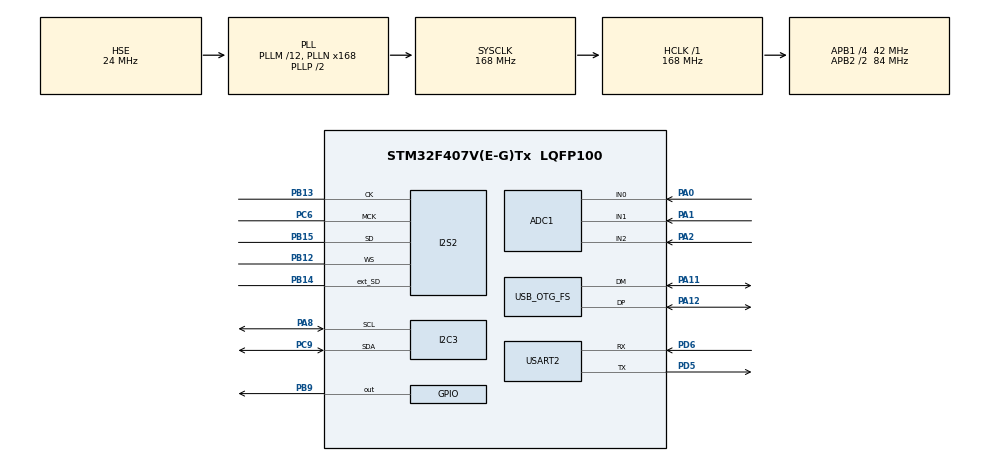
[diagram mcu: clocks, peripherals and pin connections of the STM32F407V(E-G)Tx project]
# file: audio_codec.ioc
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ADC1.Channel-0\#ChannelRegularConversion=ADC_CHANNEL_0
ADC1.NbrOfConversionFlag=1
ADC1.Rank-0\#ChannelRegularConversion=1
ADC1.SamplingTime-0\#ChannelRegularConversion=ADC_SAMPLETIME_3CYCLES
ADC1.master=1
Dma.I2S2_EXT_RX.0.Direction=DMA_PERIPH_TO_MEMORY
Dma.I2S2_EXT_RX.0.FIFOMode=DMA_FIFOMODE_DISABLE
Dma.I2S2_EXT_RX.0.Instance=DMA1_Stream3
Dma.I2S2_EXT_RX.0.MemDataAlignment=DMA_MDATAALIGN_BYTE
Dma.I2S2_EXT_RX.0.MemInc=DMA_MINC_ENABLE
Dma.I2S2_EXT_RX.0.Mode=DMA_NORMAL
Dma.I2S2_EXT_RX.0.PeriphDataAlignment=DMA_PDATAALIGN_BYTE
Dma.I2S2_EXT_RX.0.PeriphInc=DMA_PINC_DISABLE
Dma.I2S2_EXT_RX.0.Priority=DMA_PRIORITY_LOW
Dma.Request0=I2S2_EXT_RX
Dma.Request1=SPI2_TX
Dma.SPI2_TX.1.Direction=DMA_MEMORY_TO_PERIPH
Dma.SPI2_TX.1.FIFOMode=DMA_FIFOMODE_DISABLE
Dma.SPI2_TX.1.Instance=DMA1_Stream4
Dma.SPI2_TX.1.MemDataAlignment=DMA_MDATAALIGN_BYTE
Dma.SPI2_TX.1.MemInc=DMA_MINC_ENABLE
Dma.SPI2_TX.1.Mode=DMA_NORMAL
Dma.SPI2_TX.1.PeriphDataAlignment=DMA_PDATAALIGN_BYTE
Dma.SPI2_TX.1.PeriphInc=DMA_PINC_DISABLE
Dma.SPI2_TX.1.Priority=DMA_PRIORITY_LOW
I2S2.AudioFreq=I2S_AUDIOFREQ_44K
I2S2.DataFormat=I2S_DATAFORMAT_16B
I2S2.ErrorAudioFreq=0.19 %
I2S2.FullDuplexMode=I2S_FULLDUPLEXMODE_ENABLE
I2S2.Instance=SPI$Index
I2S2.RealAudioFreq=44.084 KHz
I2S2.VirtualMode=I2S_MODE_MASTER
Mcu.Family=STM32F4
Mcu.Name=STM32F407V(E-G)Tx
Mcu.Package=LQFP100
NVIC.DMA1_Stream3_IRQn=true\:0\:0\:false\:false\:true\:false\:true\:true
NVIC.DMA1_Stream4_IRQn=true\:0\:0\:false\:false\:true\:false\:true\:true
NVIC.OTG_FS_IRQn=true\:0\:0\:false\:false\:true\:false\:true\:true
NVIC.PriorityGroup=NVIC_PRIORITYGROUP_4
PA0-WKUP.Signal=ADCx_IN0
PA1.Signal=ADCx_IN1
PA11.Mode=Device_Only
PA11.Signal=USB_OTG_FS_DM
PA12.Mode=Device_Only
PA12.Signal=USB_OTG_FS_DP
PA13.Mode=Serial_Wire
PA13.Signal=SYS_JTMS-SWDIO
PA14.Mode=Serial_Wire
PA14.Signal=SYS_JTCK-SWCLK
PA2.Signal=ADCx_IN2
PA8.Mode=I2C
PA8.Signal=I2C3_SCL
PB12.Mode=Full_Duplex_Master
PB12.Signal=I2S2_WS
PB13.Mode=Full_Duplex_Master
PB13.Signal=I2S2_CK
PB14.Mode=Full_Duplex_Master
PB14.Signal=I2S2_ext_SD
PB15.Mode=Full_Duplex_Master
PB15.Signal=I2S2_SD
PB9.Signal=GPIO_Output
PC6.Mode=Master_Clock_Activated
PC6.Signal=I2S2_MCK
PC9.Mode=I2C
PC9.Signal=I2C3_SDA
PD5.Mode=Asynchronous
PD5.Signal=USART2_TX
PD6.Mode=Asynchronous
PD6.Signal=USART2_RX
PH0-OSC_IN.Mode=HSE-External-Oscillator
PH0-OSC_IN.Signal=RCC_OSC_IN
PH1-OSC_OUT.Mode=HSE-External-Oscillator
PH1-OSC_OUT.Signal=RCC_OSC_OUT
ProjectManager.HeapSize=0x200
ProjectManager.StackSize=0x400
ProjectManager.TargetToolchain=STM32CubeIDE
RCC.48MHZClocksFreq_Value=48000000
RCC.AHBFreq_Value=168000000
RCC.APB1CLKDivider=RCC_HCLK_DIV4
RCC.APB1Freq_Value=42000000
RCC.APB1TimFreq_Value=84000000
RCC.APB2CLKDivider=RCC_HCLK_DIV2
RCC.APB2Freq_Value=84000000
RCC.APB2TimFreq_Value=168000000
RCC.CortexFreq_Value=168000000
RCC.HCLKFreq_Value=168000000
RCC.HSE_VALUE=24000000
RCC.HSI_VALUE=16000000
RCC.LSE_VALUE=32768
RCC.PLLI2SN=158
RCC.PLLI2SR=7
RCC.PLLM=12
RCC.PLLN=168
RCC.PLLQ=7
RCC.SYSCLKFreq_VALUE=168000000
RCC.SYSCLKSource=RCC_SYSCLKSOURCE_PLLCLK
RCC.VCOOutputFreq_Value=336000000
SH.ADCx_IN0.0=ADC1_IN0,IN0
SH.ADCx_IN1.0=ADC1_IN1,IN1
SH.ADCx_IN2.0=ADC1_IN2,IN2
USART2.VirtualMode=VM_ASYNC
USB_DEVICE.CLASS_NAME_FS=CDC
USB_DEVICE.VirtualMode-CDC_FS=Cdc
USB_DEVICE.VirtualModeFS=Cdc_FS
USB_OTG_FS.VirtualMode=Device_Only
VP_USB_DEVICE_VS_USB_DEVICE_CDC_FS.Mode=CDC_FS
board=custom

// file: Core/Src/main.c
/* USER CODE BEGIN Header */
/**
  ******************************************************************************
  * @file           : main.c
  * @brief          : Main program body
  ******************************************************************************
  * @attention
  *
  * Copyright (c) 2025 STMicroelectronics.
  * All rights reserved.
  *
  * This software is licensed under terms that can be found in the LICENSE file
  * in the root directory of this software component.
  * If no LICENSE file comes with this software, it is provided AS-IS.
  *
  ******************************************************************************
  */
/* USER CODE END Header */
#include "main.h"
#include "adc.h"
#include "dma.h"
#include "i2c.h"
#include "i2s.h"
#include "usart.h"
#include "usb_device.h"
#include "gpio.h"

/* USER CODE BEGIN Includes */
#include <math.h>
/* USER CODE END Includes */

/* USER CODE BEGIN PD */
#define BUFSIZE 4096
#define DEVICE_ADDR 0x34  // Example: MPU6050
#define REG_ADDR    0x06
/* USER CODE END PD */

/* USER CODE BEGIN PV */
volatile int16_t txBuffer[BUFSIZE] = {0};
volatile int16_t rxBuffer[BUFSIZE] = {0};

volatile uint8_t cplt = 0;
volatile uint8_t hplt = 0;
/* USER CODE END PV */

void SystemClock_Config(void);

int main(void)
{

  /* MCU Configuration--------------------------------------------------------*/

  /* Reset of all peripherals, Initializes the Flash interface and the Systick. */
  HAL_Init();

  /* Configure the system clock */
  SystemClock_Config();

  /* Initialize all configured peripherals */
  MX_GPIO_Init();
  MX_DMA_Init();
  MX_I2C3_Init();
  MX_I2S2_Init();
  MX_ADC1_Init();
  MX_USB_DEVICE_Init();
  MX_USART2_UART_Init();
  /* USER CODE BEGIN 2 */
  void wm8731_send(uint16_t addr, uint16_t data){
  	uint16_t cmd = (addr << 9) | (data & 0x1FF);
  	uint8_t cmd_buf[2] = {cmd >> 8, cmd & 0xFF};
  	HAL_I2C_Master_Transmit(&hi2c3, 0x1A<<1, cmd_buf, 2, HAL_MAX_DELAY);
  }

  void wm8731_reset(void){
  	uint16_t cmd = (0x0F << 9) | (0x00 & 0x1FF);
  	uint8_t cmd_buf[2] = {cmd >> 8, cmd & 0xFF};
  	HAL_I2C_Master_Transmit(&hi2c3, 0x1A<<1, cmd_buf, 2, HAL_MAX_DELAY);
  }
  /* USER CODE END 2 */

  /* Infinite loop */
  /* USER CODE BEGIN WHILE */

  char msg[128];

  wm8731_reset();
  wm8731_send(0x06,0x00);
  wm8731_send(0x08,0x00);
  wm8731_send(0x00,0b000011011);
  wm8731_send(0x07,0b00000010);
  wm8731_send(0x05,0xb00110);
  wm8731_send(0x04,0b00010010);
  wm8731_send(0x02,0b001111111);
  wm8731_send(0x09,0x01);

  HAL_I2SEx_TransmitReceive_DMA(&hi2s2,(uint16_t *)txBuffer,(uint16_t *)rxBuffer,BUFSIZE);

  while (1)
  {

	  if(cplt == 1){
		  cplt = 0;
		  //HAL_GPIO_TogglePin (GPIOB, GPIO_PIN_9);

	  }
	  if(hplt == 1){
		  hplt = 0;
		  //HAL_GPIO_TogglePin (GPIOB, GPIO_PIN_9);

	  }

      //snprintf(msg, sizeof(msg), "%d\r", (int16_t)received_sample[0]);
      //HAL_UART_Transmit(&huart2, (uint8_t *)msg, strlen(msg), HAL_MAX_DELAY);
    /* USER CODE END WHILE */

  }
}

void SystemClock_Config(void)
{
  RCC_OscInitTypeDef RCC_OscInitStruct = {0};
  RCC_ClkInitTypeDef RCC_ClkInitStruct = {0};

  /** Configure the main internal regulator output voltage
  */
  __HAL_RCC_PWR_CLK_ENABLE();
  __HAL_PWR_VOLTAGESCALING_CONFIG(PWR_REGULATOR_VOLTAGE_SCALE1);

  /** Initializes the RCC Oscillators according to the specified parameters
  * in the RCC_OscInitTypeDef structure.
  */
  RCC_OscInitStruct.OscillatorType = RCC_OSCILLATORTYPE_HSE;
  RCC_OscInitStruct.HSEState = RCC_HSE_ON;
  RCC_OscInitStruct.PLL.PLLState = RCC_PLL_ON;
  RCC_OscInitStruct.PLL.PLLSource = RCC_PLLSOURCE_HSE;
  RCC_OscInitStruct.PLL.PLLM = 12;
  RCC_OscInitStruct.PLL.PLLN = 168;
  RCC_OscInitStruct.PLL.PLLP = RCC_PLLP_DIV2;
  RCC_OscInitStruct.PLL.PLLQ = 7;
  if (HAL_RCC_OscConfig(&RCC_OscInitStruct) != HAL_OK)
  {
    Error_Handler();
  }

  /** Initializes the CPU, AHB and APB buses clocks
  */
  RCC_ClkInitStruct.ClockType = RCC_CLOCKTYPE_HCLK|RCC_CLOCKTYPE_SYSCLK
                              |RCC_CLOCKTYPE_PCLK1|RCC_CLOCKTYPE_PCLK2;
  RCC_ClkInitStruct.SYSCLKSource = RCC_SYSCLKSOURCE_PLLCLK;
  RCC_ClkInitStruct.AHBCLKDivider = RCC_SYSCLK_DIV1;
  RCC_ClkInitStruct.APB1CLKDivider = RCC_HCLK_DIV4;
  RCC_ClkInitStruct.APB2CLKDivider = RCC_HCLK_DIV2;

  if (HAL_RCC_ClockConfig(&RCC_ClkInitStruct, FLASH_LATENCY_5) != HAL_OK)
  {
    Error_Handler();
  }
}

/* USER CODE BEGIN 4 */
float soft_clp(float Q, float d, int16_t x_raw){
	float x = x_raw/32767.0;
	return ((x-Q)/(1-exp(0-d*(x-Q))))+(Q/(1-exp(d*Q)));
}

HAL_I2SEx_TxRxHalfCpltCallback(I2S_HandleTypeDef *hi2s){
	memcpy((void*)&txBuffer[0], (void*)&rxBuffer[0], BUFSIZE * sizeof(int16_t)/2);
	for(int i=0;i<BUFSIZE/2;i++){
//		if(txBuffer[i]>=100){
//			txBuffer[i]=100;
//		}
		txBuffer[i]=soft_clp(-0.2,10.0,txBuffer[i]);
	}
	hplt = 1;
}
HAL_I2SEx_TxRxCpltCallback(I2S_HandleTypeDef *hi2s){
//	HAL_I2SEx_TransmitReceive_DMA(&hi2s2,(uint16_t *)txBuffer,(uint16_t *)rxBuffer,BUFSIZE);
	memcpy((void*)&txBuffer[BUFSIZE/2], (void*)&rxBuffer[BUFSIZE/2], BUFSIZE * sizeof(int16_t)/2);
	for(int i=BUFSIZE/2;i<BUFSIZE;i++){
//		if(txBuffer[i]>=100){
//			txBuffer[i]=100;
//		}
		txBuffer[i]=soft_clp(-0.2,10.0,txBuffer[i]);
	}
	cplt = 1;
}
/* USER CODE END 4 */

void Error_Handler(void)
{
  __disable_irq();
  while (1)
  {
  }
}
